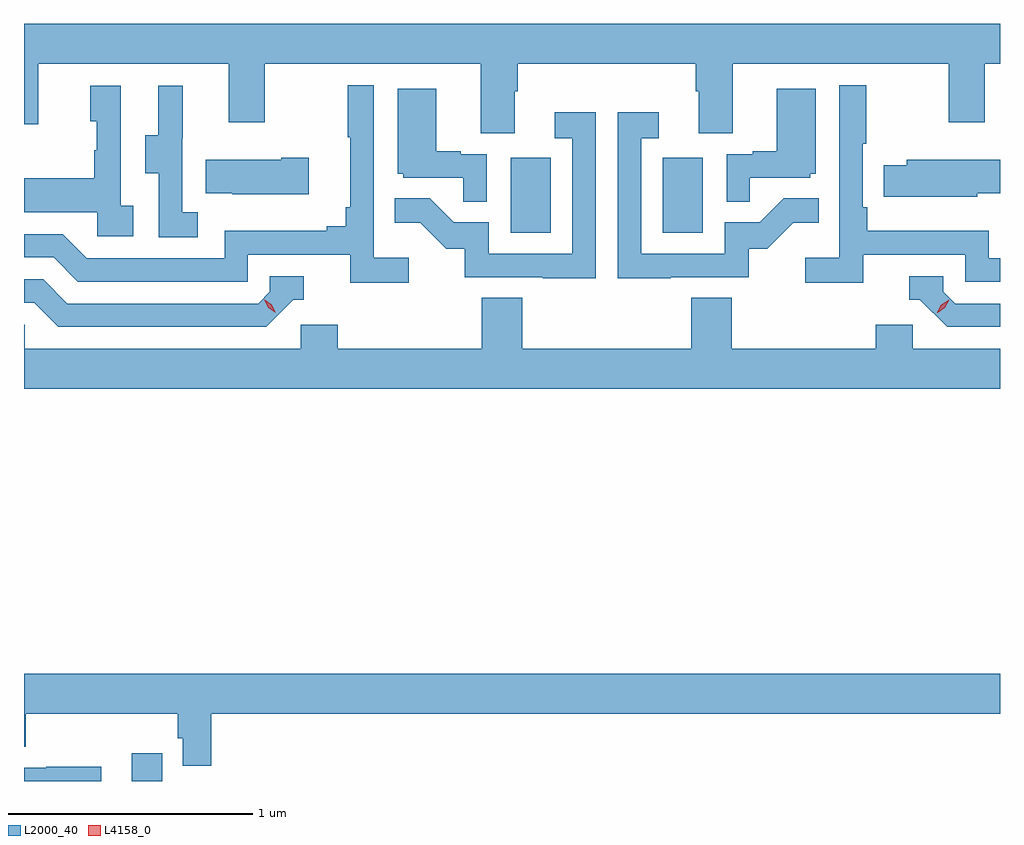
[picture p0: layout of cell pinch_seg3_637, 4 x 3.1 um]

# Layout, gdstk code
import gdstk
lib = gdstk.Library(unit=1e-6, precision=1e-09)
def R(c, l, rs):  # rectangles x0, y0, x1, y1
    for r in rs: c.add(gdstk.rectangle(r[:2], r[2:], *l))
def P(c, l, *ps):  # polygons
    for p in ps: c.add(gdstk.Polygon(p, *l))
L2000_40 = (2000, 40)
L4158_0 = (4158, 0)

pinch_seg3_637 = lib.new_cell('pinch_seg3_637')
R(pinch_seg3_637, L2000_40, [(1036.047,672.667,1036.172,672.781), (1037.6,674.916,1037.764,675.223), (1038.224,674.916,1038.388,675.223)])
P(pinch_seg3_637, L2000_40, [(1035.606,675.36),(1035.665,675.36),(1035.665,675.608),(1036.445,675.608),(1036.445,675.369),(1036.593,675.369),(1036.593,675.608),(1037.477,675.608),(1037.477,675.322),(1037.617,675.322),(1037.617,675.496),(1037.63,675.496),(1037.63,675.608),(1038.359,675.608),(1038.359,675.496),(1038.371,675.496),(1038.371,675.322),(1038.511,675.322),(1038.511,675.608),(1039.396,675.608),(1039.396,675.369),(1039.543,675.369),(1039.543,675.608),(1039.606,675.608),(1039.606,675.772),(1035.606,675.772)],
  [(1039.046,674.826),(1039.464,674.826),(1039.464,674.715),(1039.606,674.715),(1039.606,674.811),(1039.56,674.811),(1039.56,674.923),(1039.061,674.923),(1039.061,675.019),(1039.044,675.019),(1039.044,675.28),(1039.057,675.28),(1039.057,675.52),(1038.948,675.52),(1038.948,674.812),(1038.807,674.812),(1038.807,674.71),(1039.046,674.71)],
  [(1037.182,674.812),(1037.04,674.812),(1037.04,675.52),(1036.932,675.52),(1036.932,675.307),(1036.943,675.307),(1036.943,675.019),(1036.924,675.019),(1036.924,674.942),(1036.847,674.942),(1036.847,674.923),(1036.428,674.923),(1036.428,674.811),(1035.864,674.811),(1035.765,674.91),(1035.606,674.91),(1035.606,674.814),(1035.728,674.814),(1035.827,674.715),(1036.524,674.715),(1036.524,674.826),(1036.943,674.826),(1036.943,674.71),(1037.182,674.71)],
  [(1036.318,674.999),(1036.254,674.999),(1036.254,675.303),(1036.256,675.303),(1036.256,675.517),(1036.157,675.517),(1036.157,675.315),(1036.103,675.315),(1036.103,675.16),(1036.158,675.16),(1036.158,674.896),(1036.318,674.896)],
  [(1036.054,675.026),(1036.002,675.026),(1036.002,675.517),(1035.878,675.517),(1035.878,675.372),(1035.904,675.372),(1035.904,675.254),(1035.894,675.254),(1035.894,675.139),(1035.606,675.139),(1035.606,674.999),(1035.906,674.999),(1035.906,674.901),(1036.054,674.901)],
  [(1037.502,675.237),(1037.396,675.237),(1037.396,675.25),(1037.296,675.25),(1037.296,675.505),(1037.138,675.505),(1037.138,675.156),(1037.16,675.156),(1037.16,675.141),(1037.407,675.141),(1037.407,675.043),(1037.502,675.043)],
  [(1038.581,675.141),(1038.828,675.141),(1038.828,675.156),(1038.85,675.156),(1038.85,675.505),(1038.692,675.505),(1038.692,675.25),(1038.593,675.25),(1038.593,675.237),(1038.486,675.237),(1038.486,675.043),(1038.581,675.043)],
  [(1038.257,674.733),(1038.576,674.733),(1038.576,674.85),(1038.652,674.85),(1038.759,674.957),(1038.863,674.957),(1038.863,675.056),(1038.719,675.056),(1038.621,674.958),(1038.477,674.958),(1038.477,674.829),(1038.135,674.829),(1038.135,675.303),(1038.208,675.303),(1038.208,675.409),(1038.039,675.409),(1038.039,674.728),(1038.257,674.728)],
  [(1037.949,675.409),(1037.781,675.409),(1037.781,675.303),(1037.853,675.303),(1037.853,674.829),(1037.511,674.829),(1037.511,674.958),(1037.367,674.958),(1037.269,675.056),(1037.125,675.056),(1037.125,674.957),(1037.229,674.957),(1037.336,674.85),(1037.413,674.85),(1037.413,674.733),(1037.731,674.733),(1037.731,674.728),(1037.949,674.728)],
  [(1036.774,675.222),(1036.661,675.222),(1036.661,675.214),(1036.351,675.214),(1036.351,675.077),(1036.459,675.077),(1036.459,675.074),(1036.774,675.074)],
  [(1039.512,675.077),(1039.606,675.077),(1039.606,675.214),(1039.223,675.214),(1039.223,675.192),(1039.129,675.192),(1039.129,675.063),(1039.24,675.063),(1039.24,675.062),(1039.512,675.062)],
  [(1036.71,674.64),(1036.753,674.64),(1036.753,674.736),(1036.614,674.736),(1036.614,674.673),(1036.566,674.625),(1035.783,674.625),(1035.684,674.724),(1035.606,674.724),(1035.606,674.628),(1035.647,674.628),(1035.746,674.529),(1036.599,674.529)],
  [(1039.606,674.625),(1039.422,674.625),(1039.374,674.673),(1039.374,674.736),(1039.235,674.736),(1039.235,674.64),(1039.278,674.64),(1039.389,674.529),(1039.606,674.529)],
  [(1039.606,674.44),(1039.248,674.44),(1039.248,674.538),(1039.097,674.538),(1039.097,674.44),(1038.506,674.44),(1038.506,674.648),(1038.341,674.648),(1038.341,674.44),(1037.648,674.44),(1037.648,674.648),(1037.483,674.648),(1037.483,674.44),(1036.892,674.44),(1036.892,674.538),(1036.74,674.538),(1036.74,674.44),(1035.609,674.44),(1035.609,674.538),(1035.606,674.538),(1035.606,674.276),(1039.606,674.276)],
  [(1036.373,672.944),(1039.606,672.944),(1039.606,673.108),(1035.606,673.108),(1035.606,672.808),(1035.614,672.808),(1035.614,672.944),(1036.237,672.944),(1036.237,672.843),(1036.257,672.843),(1036.257,672.731),(1036.373,672.731)],
  [(1035.922,672.726),(1035.697,672.726),(1035.697,672.723),(1035.606,672.723),(1035.606,672.667),(1035.922,672.667)])
P(pinch_seg3_637, L4158_0, [(1036.638,674.588),(1036.607,674.607),(1036.591,674.64),(1036.591,674.64),(1036.592,674.64),(1036.622,674.621),(1036.638,674.588),(1036.638,674.588)],
  [(1039.349,674.588),(1039.349,674.589),(1039.366,674.621),(1039.397,674.64),(1039.397,674.64),(1039.397,674.64),(1039.38,674.607),(1039.35,674.588)])

lib.write_gds('pinch_seg3_637.gds')
